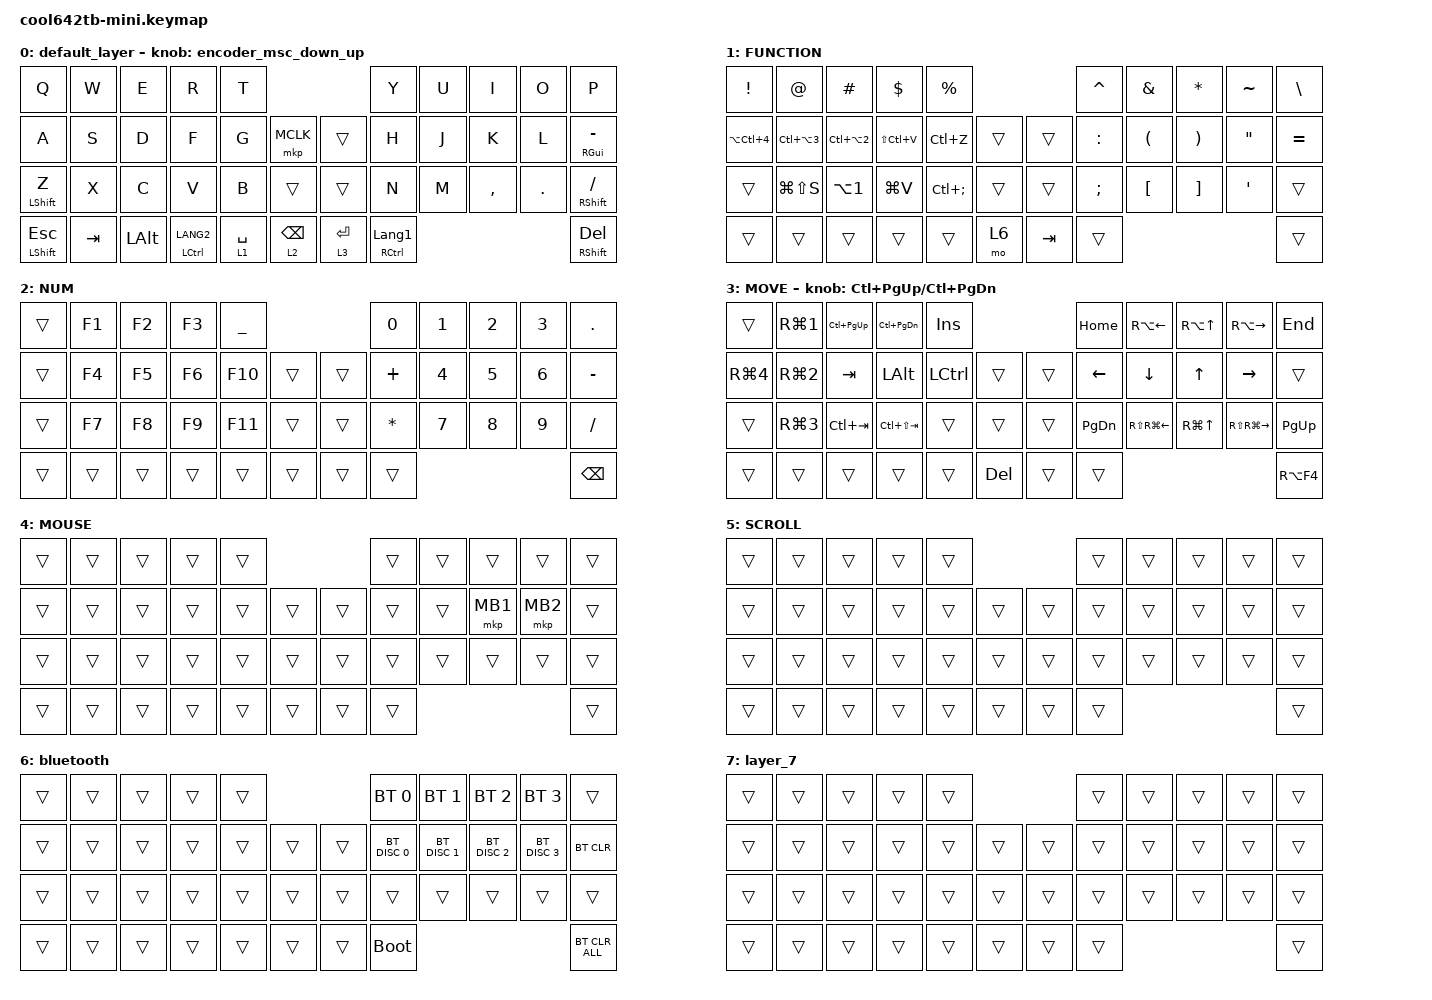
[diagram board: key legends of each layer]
#include <input/processors.dtsi>
#include <behaviors.dtsi>
#include <dt-bindings/zmk/bt.h>
#include <dt-bindings/zmk/keys.h>
#include <dt-bindings/zmk/pointing.h>

#define MOUSE 4
#define SCROLL 5
#define NUM 6
#define ZMK_POINTING_DEFAULT_SCRL_VAL 80

&mt {
    flavor = "balanced";
    quick-tap-ms = <300>;
};

&lt { quick-tap-ms = <300>; };

/ {
    combos {
        compatible = "zmk,combos";

        kl_scroll {
            bindings = <&mo SCROLL>;
            key-positions = <19 20>;
        };

        colon {
            bindings = <&kp COLON>;
            key-positions = <18 6>;
            layers = <2>;
        };

        tab {
            bindings = <&kp TAB>;
            key-positions = <13 3>;
        };

        shift+F10 {
            bindings = <&kp LS(F10)>;
            key-positions = <4 14>;
            layers = <0>;
        };
    };

    behaviors {
        encoder_msc_down_up: encoder_msc_down_up {
            compatible = "zmk,behavior-sensor-rotate";
            label = "ENCODER_MSC_DOWN_UP";
            #sensor-binding-cells = <0>;
            bindings = <&msc SCRL_UP>, <&msc SCRL_DOWN>;

            tap-ms = <20>;
        };
    };

    keymap {
        compatible = "zmk,keymap";

        default_layer {
            bindings = <
&kp Q               &kp W    &kp E         &kp R                   &kp T                                           &kp Y                         &kp U  &kp I      &kp O    &kp P
&kp A               &kp S    &kp D         &kp F                   &kp G        &mkp MCLK            &trans        &kp H                         &kp J  &kp K      &kp L    &mt RIGHT_GUI MINUS
&mt LEFT_SHIFT Z    &kp X    &kp C         &kp V                   &kp B        &trans               &trans        &kp N                         &kp M  &kp COMMA  &kp DOT  &mt RIGHT_SHIFT SLASH
&mt LEFT_SHIFT ESC  &kp TAB  &kp LEFT_ALT  &mt LEFT_CONTROL LANG2  &lt 1 SPACE  &lt 2 BACKSPACE      &lt 3 RETURN  &mt RIGHT_CONTROL LANGUAGE_1                             &mt RIGHT_SHIFT DELETE
            >;

            sensor-bindings = <&encoder_msc_down_up>;
        };

        FUNCTION {
            bindings = <
&kp EXCLAMATION  &kp AT                &kp HASH              &kp DOLLAR     &kp PERCENT                        &kp CARET  &kp AMPERSAND         &kp ASTERISK           &kp TILDE          &kp BACKSLASH
&kp LA(LC(N4))   &kp LC(LA(NUMBER_3))  &kp LC(LA(NUMBER_2))  &kp LS(LC(V))  &kp LC(Z)     &trans      &trans   &kp COLON  &kp LEFT_PARENTHESIS  &kp RIGHT_PARENTHESIS  &kp DOUBLE_QUOTES  &kp EQUAL
&trans           &kp LG(LS(S))         &kp LA(NUMBER_1)      &kp LG(V)      &kp LC(SEMI)  &trans      &trans   &kp SEMI   &kp LEFT_BRACKET      &kp RIGHT_BRACKET      &kp APOS           &trans
&trans           &trans                &trans                &trans         &trans        &mo 6       &kp TAB  &trans                                                                     &trans
            >;
        };

        NUM {
            bindings = <
&trans  &kp F1  &kp F2  &kp F3  &kp UNDERSCORE                      &kp NUMBER_0  &kp NUMBER_1  &kp NUMBER_2  &kp NUMBER_3  &kp PERIOD
&trans  &kp F4  &kp F5  &kp F6  &kp F10         &trans      &trans  &kp PLUS      &kp NUMBER_4  &kp NUMBER_5  &kp NUMBER_6  &kp MINUS
&trans  &kp F7  &kp F8  &kp F9  &kp F11         &trans      &trans  &kp ASTERISK  &kp NUMBER_7  &kp NUMBER_8  &kp NUMBER_9  &kp SLASH
&trans  &trans  &trans  &trans  &trans          &trans      &trans  &trans                                                  &kp BACKSPACE
            >;
        };

        MOVE {
            bindings = <
&trans      &kp RG(N1)  &kp LC(PAGE_UP)  &kp LC(PAGE_DOWN)  &kp INSERT                                &kp HOME        &kp RA(LEFT_ARROW)      &kp RA(UP_ARROW)  &kp RA(RIGHT_ARROW)      &kp END
&kp RG(N4)  &kp RG(N2)  &kp TAB          &kp LEFT_ALT       &kp LEFT_CONTROL  &trans          &trans  &kp LEFT_ARROW  &kp DOWN_ARROW          &kp UP_ARROW      &kp RIGHT_ARROW          &trans
&trans      &kp RG(N3)  &kp LC(TAB)      &kp LC(LS(TAB))    &trans            &trans          &trans  &kp PAGE_DOWN   &kp RS(RG(LEFT_ARROW))  &kp RG(UP_ARROW)  &kp RS(RG(RIGHT_ARROW))  &kp PAGE_UP
&trans      &trans      &trans           &trans             &trans            &kp DELETE      &trans  &trans                                                                             &kp RA(F4)
            >;

            sensor-bindings = <&inc_dec_kp LC(PAGE_UP) LC(PAGE_DOWN)>;
        };

        MOUSE {
            bindings = <
&trans  &trans  &trans  &trans  &trans                      &trans  &trans  &trans    &trans    &trans
&trans  &trans  &trans  &trans  &trans  &trans      &trans  &trans  &trans  &mkp MB1  &mkp MB2  &trans
&trans  &trans  &trans  &trans  &trans  &trans      &trans  &trans  &trans  &trans    &trans    &trans
&trans  &trans  &trans  &trans  &trans  &trans      &trans  &trans                              &trans
            >;
        };

        SCROLL {
            bindings = <
&trans  &trans  &trans  &trans  &trans                      &trans  &trans  &trans  &trans  &trans
&trans  &trans  &trans  &trans  &trans  &trans      &trans  &trans  &trans  &trans  &trans  &trans
&trans  &trans  &trans  &trans  &trans  &trans      &trans  &trans  &trans  &trans  &trans  &trans
&trans  &trans  &trans  &trans  &trans  &trans      &trans  &trans                          &trans
            >;
        };

        bluetooth {
            bindings = <
&trans  &trans  &trans  &trans  &trans                      &bt BT_SEL 0   &bt BT_SEL 1   &bt BT_SEL 2   &bt BT_SEL 3   &trans
&trans  &trans  &trans  &trans  &trans  &trans      &trans  &bt BT_DISC 0  &bt BT_DISC 1  &bt BT_DISC 2  &bt BT_DISC 3  &bt BT_CLR
&trans  &trans  &trans  &trans  &trans  &trans      &trans  &trans         &trans         &trans         &trans         &trans
&trans  &trans  &trans  &trans  &trans  &trans      &trans  &bootloader                                                 &bt BT_CLR_ALL
            >;
        };

        layer_7 {
            bindings = <
&trans  &trans  &trans  &trans  &trans                      &trans  &trans  &trans  &trans  &trans
&trans  &trans  &trans  &trans  &trans  &trans      &trans  &trans  &trans  &trans  &trans  &trans
&trans  &trans  &trans  &trans  &trans  &trans      &trans  &trans  &trans  &trans  &trans  &trans
&trans  &trans  &trans  &trans  &trans  &trans      &trans  &trans                          &trans
            >;
        };
    };
};
